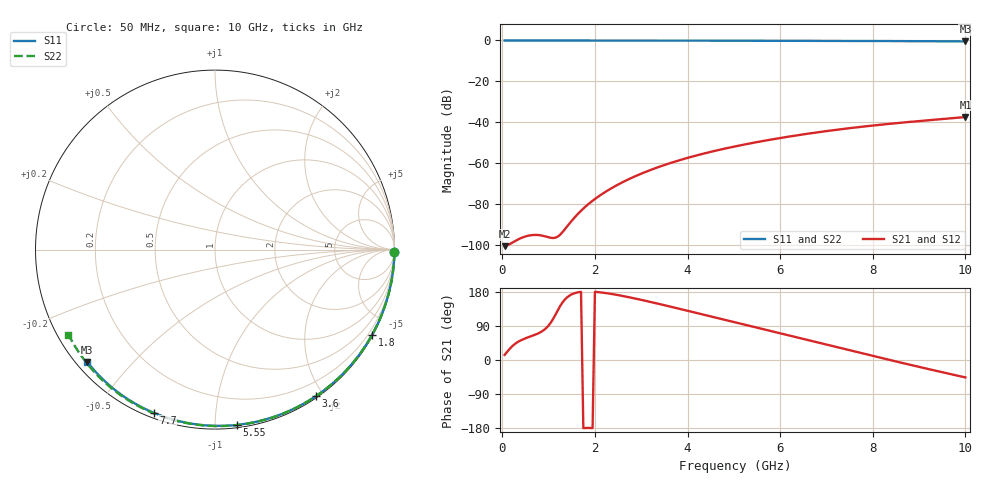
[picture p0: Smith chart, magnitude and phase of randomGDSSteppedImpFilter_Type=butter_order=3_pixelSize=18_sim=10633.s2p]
! freq	dB(S11)	phase(S11)	dB(S12)	phase(S12)
!  dB(S21)	phase(S21)	dB(S22)	phase(S22)
!S-par simulation data
#  GHz  S  DB  R 50
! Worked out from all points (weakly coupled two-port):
!   200 points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, 50 MHz to 10 GHz, reference 50 ohm
!   highest |S21| = -37.37 dB at 10 GHz (marker M1); lowest = -100.4 dB at 50 MHz (marker M2)
!   lowest |S11| = -0.5 dB at 10 GHz (marker M3), VSWR 37.06, Z = 1.54 - j18.8 ohm
!   |S11| at or under -10 dB: nowhere
!   |S22| runs from -0.5 to 0.0 dB; largest |S21 - S12| = 0
!   S11 on the Smith chart (normalised r, x): 50 MHz: open; 1.8 GHz: 0.03, -3.94; 3.6 GHz: 0.02, -1.90; 5.55 GHz: 0.02, -1.13; 7.7 GHz: 0.02, -0.69; 10 GHz: 0.03, -0.38
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0.05  -0.00 -0.8  -100.36 13.4  -100.36 13.4  -0.00 -0.9
0.85  -0.02 -13.6  -95.16 75.1  -95.16 75.1  -0.02 -14.6
1.3  -0.03 -20.7  -93.52 151.9  -93.52 151.9  -0.03 -22.3
1.75  -0.04 -27.7  -82.01 -179.6  -82.01 -179.6  -0.04 -29.8
1.8  -0.04 -28.5  -80.99 -179.3  -80.99 -179.3  -0.04 -30.7
1.85  -0.04 -29.2  -80.02 -179.2  -80.02 -179.2  -0.04 -31.5
2.05  -0.04 -32.3  -76.53 179.4  -76.53 179.4  -0.04 -34.8
2.2  -0.04 -34.6  -74.25 177.3  -74.25 177.3  -0.05 -37.3
2.4  -0.05 -37.7  -71.54 173.5  -71.54 173.5  -0.05 -40.6
2.6  -0.05 -40.7  -69.13 169.0  -69.13 169.0  -0.06 -43.8
3  -0.06 -46.7  -64.99 158.7  -64.99 158.7  -0.07 -50.3
3.4  -0.07 -52.6  -61.54 147.5  -61.54 147.5  -0.08 -56.6
3.6  -0.07 -55.6  -60.02 141.7  -60.02 141.7  -0.08 -59.8
4.3  -0.09 -65.6  -55.47 121.0  -55.47 121.0  -0.10 -70.6
5.05  -0.12 -76.1  -51.58 98.6  -51.58 98.6  -0.13 -81.8
5.55  -0.14 -82.9  -49.38 83.7  -49.38 83.7  -0.15 -89.1
6.1  -0.16 -90.2  -47.23 67.4  -47.23 67.4  -0.17 -96.9
6.7  -0.19 -98.0  -45.16 49.5  -45.16 49.5  -0.20 -105.3
7.7  -0.25 -110.6  -42.26 19.7  -42.26 19.7  -0.27 -119.0
8.35  -0.30 -118.7  -40.70 0.5  -40.70 0.5  -0.33 -127.7
9.2  -0.38 -129.0  -38.93 -23.8  -38.93 -23.8  -0.41 -139.1
10  -0.47 -138.7  -37.37 -46.0  -37.37 -46.0  -0.50 -149.9
